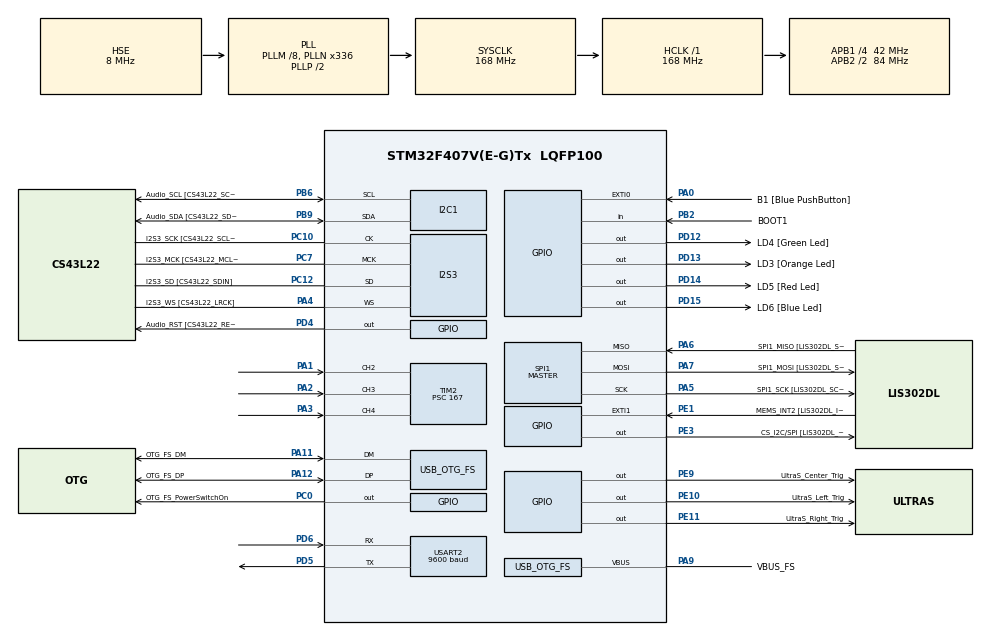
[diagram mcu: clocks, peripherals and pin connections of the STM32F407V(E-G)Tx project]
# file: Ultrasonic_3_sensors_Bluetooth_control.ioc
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I2S3.AudioFreq-Half_Duplex_Master=I2S_AUDIOFREQ_96K
I2S3.ErrorAudioFreq=-2.34 %
I2S3.ErrorAudioFreq-Half_Duplex_Master=0.8 %
I2S3.FullDuplexMode=I2S_FULLDUPLEXMODE_DISABLE
I2S3.Instance=SPI$Index
I2S3.RealAudioFreq=93.75 KHz
I2S3.RealAudioFreq-Half_Duplex_Master=96.774 KHz
I2S3.VirtualMode=I2S_MODE_MASTER
Mcu.Family=STM32F4
Mcu.Name=STM32F407V(E-G)Tx
Mcu.Package=LQFP100
NVIC.OTG_FS_IRQn=true\:0\:0\:false\:false\:true\:true\:true\:true
NVIC.PriorityGroup=NVIC_PRIORITYGROUP_0
NVIC.TIM2_IRQn=true\:0\:0\:false\:false\:true\:true\:true\:true
NVIC.USART2_IRQn=true\:0\:0\:false\:false\:true\:true\:true\:true
PA0-WKUP.GPIO_Label=B1 [Blue PushButton]
PA0-WKUP.GPIO_ModeDefaultEXTI=GPIO_MODE_EVT_RISING
PA0-WKUP.GPIO_PuPd=GPIO_NOPULL
PA0-WKUP.Signal=GPXTI0
PA1.Signal=S_TIM2_CH2
PA10.GPIO_Label=OTG_FS_ID
PA10.GPIO_Mode=GPIO_MODE_AF_PP
PA10.GPIO_PuPd=GPIO_NOPULL
PA10.GPIO_Speed=GPIO_SPEED_FREQ_LOW
PA10.Signal=USB_OTG_FS_ID
PA11.GPIO_Label=OTG_FS_DM
PA11.GPIO_Mode=GPIO_MODE_AF_PP
PA11.GPIO_PuPd=GPIO_NOPULL
PA11.GPIO_Speed=GPIO_SPEED_FREQ_LOW
PA11.Mode=Host_Only
PA11.Signal=USB_OTG_FS_DM
PA12.GPIO_Label=OTG_FS_DP
PA12.GPIO_Mode=GPIO_MODE_AF_PP
PA12.GPIO_PuPd=GPIO_NOPULL
PA12.GPIO_Speed=GPIO_SPEED_FREQ_LOW
PA12.Mode=Host_Only
PA12.Signal=USB_OTG_FS_DP
PA13.GPIO_Label=SWDIO
PA13.Mode=Serial_Wire
PA13.Signal=SYS_JTMS-SWDIO
PA14.GPIO_Label=SWCLK
PA14.Mode=Serial_Wire
PA14.Signal=SYS_JTCK-SWCLK
PA2.Signal=S_TIM2_CH3
PA3.Signal=S_TIM2_CH4
PA4.GPIO_Label=I2S3_WS [CS43L22_LRCK]
PA4.GPIO_Mode=GPIO_MODE_AF_PP
PA4.GPIO_PuPd=GPIO_NOPULL
PA4.GPIO_Speed=GPIO_SPEED_FREQ_LOW
PA4.Mode=Half_Duplex_Master
PA4.Signal=I2S3_WS
PA5.GPIO_Label=SPI1_SCK [LIS302DL_SCL/SPC]
PA5.GPIO_Mode=GPIO_MODE_AF_PP
PA5.GPIO_PuPd=GPIO_NOPULL
PA5.GPIO_Speed=GPIO_SPEED_FREQ_LOW
PA5.Mode=Full_Duplex_Master
PA5.Signal=SPI1_SCK
PA6.GPIO_Label=SPI1_MISO [LIS302DL_SDO]
PA6.GPIO_Mode=GPIO_MODE_AF_PP
PA6.GPIO_PuPd=GPIO_NOPULL
PA6.GPIO_Speed=GPIO_SPEED_FREQ_LOW
PA6.Mode=Full_Duplex_Master
PA6.Signal=SPI1_MISO
PA7.GPIO_Label=SPI1_MOSI [LIS302DL_SDA/SDI/SDO]
PA7.GPIO_Mode=GPIO_MODE_AF_PP
PA7.GPIO_PuPd=GPIO_NOPULL
PA7.GPIO_Speed=GPIO_SPEED_FREQ_LOW
PA7.Mode=Full_Duplex_Master
PA7.Signal=SPI1_MOSI
PA9.GPIO_Label=VBUS_FS
PA9.GPIO_Mode=GPIO_MODE_INPUT
PA9.GPIO_PuPd=GPIO_NOPULL
PA9.Mode=Activate_VBUS
PA9.Signal=USB_OTG_FS_VBUS
PB10.GPIO_Label=CLK_IN [MP45DT02_CLK]
PB10.GPIO_Mode=GPIO_MODE_AF_PP
PB10.GPIO_PuPd=GPIO_NOPULL
PB10.GPIO_Speed=GPIO_SPEED_FREQ_LOW
PB10.Signal=I2S2_CK
PB2.GPIO_Label=BOOT1
PB2.GPIO_Mode=GPIO_MODE_INPUT
PB2.GPIO_PuPd=GPIO_NOPULL
PB2.Signal=GPIO_Input
PB3.GPIO_Label=SWO
PB3.Signal=SYS_JTDO-SWO
PB6.GPIO_Label=Audio_SCL [CS43L22_SCL]
PB6.GPIO_Mode=GPIO_MODE_AF_OD
PB6.GPIO_Pu=GPIO_PULLUP
PB6.GPIO_PuPd=GPIO_NOPULL
PB6.GPIO_Speed=GPIO_SPEED_FREQ_LOW
PB6.Mode=I2C
PB6.Signal=I2C1_SCL
PB9.GPIO_Label=Audio_SDA [CS43L22_SDA]
PB9.GPIO_Mode=GPIO_MODE_AF_OD
PB9.GPIO_Pu=GPIO_PULLUP
PB9.GPIO_PuPd=GPIO_NOPULL
PB9.GPIO_Speed=GPIO_SPEED_FREQ_LOW
PB9.Mode=I2C
PB9.Signal=I2C1_SDA
PC0.GPIO_Label=OTG_FS_PowerSwitchOn
PC0.GPIO_PuPd=GPIO_NOPULL
PC0.GPIO_Speed=GPIO_SPEED_FREQ_LOW
PC0.PinState=GPIO_PIN_SET
PC0.Signal=GPIO_Output
PC10.GPIO_Label=I2S3_SCK [CS43L22_SCLK]
PC10.GPIO_Mode=GPIO_MODE_AF_PP
PC10.GPIO_PuPd=GPIO_NOPULL
PC10.GPIO_Speed=GPIO_SPEED_FREQ_LOW
PC10.Mode=Half_Duplex_Master
PC10.Signal=I2S3_CK
PC12.GPIO_Label=I2S3_SD [CS43L22_SDIN]
PC12.GPIO_Mode=GPIO_MODE_AF_PP
PC12.GPIO_PuPd=GPIO_NOPULL
PC12.GPIO_Speed=GPIO_SPEED_FREQ_LOW
PC12.Mode=Half_Duplex_Master
PC12.Signal=I2S3_SD
PC14-OSC32_IN.GPIO_Label=PC14-OSC32_IN
PC14-OSC32_IN.Mode=LSE-External-Oscillator
PC14-OSC32_IN.Signal=RCC_OSC32_IN
PC15-OSC32_OUT.GPIO_Label=PC15-OSC32_OUT
PC15-OSC32_OUT.Mode=LSE-External-Oscillator
PC15-OSC32_OUT.Signal=RCC_OSC32_OUT
PC3.GPIO_Label=PDM_OUT [MP45DT02_DOUT]
PC3.GPIO_Mode=GPIO_MODE_AF_PP
PC3.GPIO_PuPd=GPIO_NOPULL
PC3.GPIO_Speed=GPIO_SPEED_FREQ_LOW
PC3.Signal=I2S2_SD
PC7.GPIO_Label=I2S3_MCK [CS43L22_MCLK]
PC7.GPIO_Mode=GPIO_MODE_AF_PP
PC7.GPIO_PuPd=GPIO_NOPULL
PC7.GPIO_Speed=GPIO_SPEED_FREQ_LOW
PC7.Mode=Master_Clock_Activated
PC7.Signal=I2S3_MCK
PD12.GPIO_Label=LD4 [Green Led]
PD12.GPIO_PuPd=GPIO_NOPULL
PD12.GPIO_Speed=GPIO_SPEED_FREQ_LOW
PD12.Signal=GPIO_Output
PD13.GPIO_Label=LD3 [Orange Led]
PD13.GPIO_PuPd=GPIO_NOPULL
PD13.GPIO_Speed=GPIO_SPEED_FREQ_LOW
PD13.Signal=GPIO_Output
PD14.GPIO_Label=LD5 [Red Led]
PD14.GPIO_PuPd=GPIO_NOPULL
PD14.GPIO_Speed=GPIO_SPEED_FREQ_LOW
PD14.Signal=GPIO_Output
PD15.GPIO_Label=LD6 [Blue Led]
PD15.GPIO_PuPd=GPIO_NOPULL
PD15.GPIO_Speed=GPIO_SPEED_FREQ_LOW
PD15.Signal=GPIO_Output
PD4.GPIO_Label=Audio_RST [CS43L22_RESET]
PD4.GPIO_PuPd=GPIO_NOPULL
PD4.GPIO_Speed=GPIO_SPEED_FREQ_LOW
PD4.Signal=GPIO_Output
PD5.Mode=Asynchronous
PD5.Signal=USART2_TX
PD6.Mode=Asynchronous
PD6.Signal=USART2_RX
PE1.GPIO_Label=MEMS_INT2 [LIS302DL_INT2]
PE1.GPIO_ModeDefaultEXTI=GPIO_MODE_EVT_RISING
PE1.GPIO_PuPd=GPIO_NOPULL
PE1.Signal=GPXTI1
PE10.GPIO_Label=UltraS_Left_Trig
PE10.Signal=GPIO_Output
PE11.GPIO_Label=UltraS_Right_Trig
PE11.Signal=GPIO_Output
PE3.GPIO_Label=CS_I2C/SPI [LIS302DL_CS_I2C/SPI]
PE3.GPIO_PuPd=GPIO_NOPULL
PE3.GPIO_Speed=GPIO_SPEED_FREQ_LOW
PE3.Signal=GPIO_Output
PE9.GPIO_Label=UltraS_Center_Trig
PE9.Signal=GPIO_Output
PH0-OSC_IN.GPIO_Label=PH0-OSC_IN
PH0-OSC_IN.Mode=HSE-External-Oscillator
PH0-OSC_IN.Signal=RCC_OSC_IN
PH1-OSC_OUT.GPIO_Label=PH1-OSC_OUT
PH1-OSC_OUT.Mode=HSE-External-Oscillator
PH1-OSC_OUT.Signal=RCC_OSC_OUT
ProjectManager.HeapSize=0x200
ProjectManager.StackSize=0x400
ProjectManager.TargetToolchain=CMake
RCC.48MHZClocksFreq_Value=48000000
RCC.AHBFreq_Value=168000000
RCC.APB1CLKDivider=RCC_HCLK_DIV4
RCC.APB1Freq_Value=42000000
RCC.APB1TimFreq_Value=84000000
RCC.APB2CLKDivider=RCC_HCLK_DIV2
RCC.APB2Freq_Value=84000000
RCC.APB2TimFreq_Value=168000000
RCC.CortexFreq_Value=168000000
RCC.HCLKFreq_Value=168000000
RCC.HSE_VALUE=8000000
RCC.HSI_VALUE=16000000
RCC.PLLM=8
RCC.PLLN=336
RCC.PLLQ=7
RCC.SYSCLKFreq_VALUE=168000000
RCC.SYSCLKSource=RCC_SYSCLKSOURCE_PLLCLK
RCC.VCOOutputFreq_Value=336000000
SH.S_TIM2_CH2.0=TIM2_CH2,Input_Capture2_from_TI2
SH.S_TIM2_CH3.0=TIM2_CH3,Input_Capture3_from_TI3
SH.S_TIM2_CH4.0=TIM2_CH4,Input_Capture4_from_TI4
SPI1.BaudRatePrescaler-Full_Duplex_Master=SPI_BAUDRATEPRESCALER_2
SPI1.CalculateBaudRate-Full_Duplex_Master=42.0 MBits/s
SPI1.Direction=SPI_DIRECTION_2LINES
SPI1.Mode=SPI_MODE_MASTER
SPI1.Mode-Full_Duplex_Master=SPI_MODE_MASTER
SPI1.VirtualType=VM_MASTER
TIM2.Channel-Input_Capture2_from_TI2=TIM_CHANNEL_2
TIM2.Channel-Input_Capture3_from_TI3=TIM_CHANNEL_3
TIM2.Channel-Input_Capture4_from_TI4=TIM_CHANNEL_4
TIM2.Prescaler=167
USART2.BaudRate=9600
USART2.VirtualMode=VM_ASYNC
USB_HOST.BSP.number=1
USB_HOST.USBH_HandleTypeDef-CDC_FS=hUsbHostFS
USB_HOST.VirtualModeFS=Cdc
USB_HOST0.BSP.STBoard=false
USB_HOST0.BSP.api=Unknown
USB_HOST0.BSP.instance=PC0
USB_HOST0.BSP.ip=GPIO
USB_HOST0.BSP.mode=Output
USB_HOST0.BSP.name=Drive_VBUS_FS
USB_HOST0.BSP.solution=PC0
USB_OTG_FS.VirtualMode=Host_Only
USB_OTG_FS.phy_itface=HCD_PHY_EMBEDDED
VP_USB_HOST_VS_USB_HOST_CDC_FS.Mode=CDC_FS
board=STM32F407G-DISC1

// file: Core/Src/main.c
/* USER CODE BEGIN Header */
/**
  ******************************************************************************
  * @file           : main.c
  * @brief          : Main program body
  ******************************************************************************
  * @attention
  *
  * Copyright (c) 2026 STMicroelectronics.
  * All rights reserved.
  *
  * This software is licensed under terms that can be found in the LICENSE file
  * in the root directory of this software component.
  * If no LICENSE file comes with this software, it is provided AS-IS.
  *
  ******************************************************************************
  */
/* USER CODE END Header */
#include "main.h"
#include "usb_host.h"

/* USER CODE BEGIN Includes */
#include "../Inc/Ultrasonic_Sensors.h"
/* USER CODE END Includes */

I2C_HandleTypeDef hi2c1;

I2S_HandleTypeDef hi2s3;

SPI_HandleTypeDef hspi1;

TIM_HandleTypeDef htim2;

UART_HandleTypeDef huart2;

/* USER CODE BEGIN PV */
uint8_t rxData;
uint8_t stopSignal;

// typedef enum ultrasonic_sensor_direction {
//   CENTER = 0,
//   LEFT = 1,
//   RIGHT = 2
// }ultrasonicDir_t;
//
// typedef struct {
//   uint32_t IC_Val1;
//   uint32_t IC_Val2;
//   uint32_t Difference; // (cm)
//   uint8_t Is_First_Captured;
//   float Distance; // (cm)
// } HCSR04_t;
//
// HCSR04_t sensors[3];
/* USER CODE END PV */

void SystemClock_Config(void);
static void MX_GPIO_Init(void);
static void MX_I2C1_Init(void);
static void MX_I2S3_Init(void);
static void MX_SPI1_Init(void);
static void MX_TIM2_Init(void);
static void MX_USART2_UART_Init(void);
void MX_USB_HOST_Process(void);

/* USER CODE BEGIN 0 */
void HAL_TIM_IC_CaptureCallback(TIM_HandleTypeDef *htim)
{
  HCSR04_ProcessEcho(htim);
}
/* USER CODE END 0 */

int main(void)
{

  /* MCU Configuration--------------------------------------------------------*/

  /* Reset of all peripherals, Initializes the Flash interface and the Systick. */
  HAL_Init();

  /* Configure the system clock */
  SystemClock_Config();

  /* Initialize all configured peripherals */
  MX_GPIO_Init();
  MX_I2C1_Init();
  MX_I2S3_Init();
  MX_SPI1_Init();
  MX_TIM2_Init();
  MX_USB_HOST_Init();
  MX_USART2_UART_Init();
  /* USER CODE BEGIN 2 */
  HAL_UART_Receive_IT(&huart2,&rxData,1); // Enabling interrupt receive

  HAL_TIM_IC_Start_IT(&htim2, TIM_CHANNEL_2);
  HAL_TIM_IC_Start_IT(&htim2, TIM_CHANNEL_3);
  HAL_TIM_IC_Start_IT(&htim2, TIM_CHANNEL_4);
  DWT_Init();
  /* USER CODE END 2 */

  /* Infinite loop */
  /* USER CODE BEGIN WHILE */
  ultrasonicDir_t currDir;
  while (1)
  {
    // reality - CANNOT trigger all 3 sensors simultaneously: otherwise, we get interference
    // need 50 ms (at least 30 ms) between each sensor
    uint16_t ledPins[3] = {GPIO_PIN_12, GPIO_PIN_13, GPIO_PIN_14};
    if (!stopSignal) {
      HAL_GPIO_WritePin(LD6_GPIO_Port, LD6_Pin, GPIO_PIN_RESET);
      for (int i = 0; i < 3; i++) {
        currDir = i;

        // reset the current sensor's values if they were left in the air previously
        HCSR04_Reset(currDir);

        HCSR04_Trigger(currDir);
        HAL_Delay(50);

        // watchdog for if the current sensor doesn't receive echo => is_first_captured becomes stuck at 1 forever
        // if (sensors[i].Is_First_Captured == 1) {
        //   sensors[i].Is_First_Captured = 0;
        // }

        if(HCSR04_GetDistance(i) <= 5) { //  sensors[i].Distance <= 5
          HAL_GPIO_WritePin(GPIOD, ledPins[i], GPIO_PIN_SET);
        }
        else {
          HAL_GPIO_WritePin(GPIOD, ledPins[i], GPIO_PIN_RESET);
        }
      }
    }
    else {
      HAL_GPIO_WritePin(LD6_GPIO_Port, LD6_Pin, GPIO_PIN_SET);
    }
    /* USER CODE END WHILE */
    MX_USB_HOST_Process();

  }
}

void SystemClock_Config(void)
{
  RCC_OscInitTypeDef RCC_OscInitStruct = {0};
  RCC_ClkInitTypeDef RCC_ClkInitStruct = {0};

  /** Configure the main internal regulator output voltage
  */
  __HAL_RCC_PWR_CLK_ENABLE();
  __HAL_PWR_VOLTAGESCALING_CONFIG(PWR_REGULATOR_VOLTAGE_SCALE1);

  /** Initializes the RCC Oscillators according to the specified parameters
  * in the RCC_OscInitTypeDef structure.
  */
  RCC_OscInitStruct.OscillatorType = RCC_OSCILLATORTYPE_HSE;
  RCC_OscInitStruct.HSEState = RCC_HSE_ON;
  RCC_OscInitStruct.PLL.PLLState = RCC_PLL_ON;
  RCC_OscInitStruct.PLL.PLLSource = RCC_PLLSOURCE_HSE;
  RCC_OscInitStruct.PLL.PLLM = 8;
  RCC_OscInitStruct.PLL.PLLN = 336;
  RCC_OscInitStruct.PLL.PLLP = RCC_PLLP_DIV2;
  RCC_OscInitStruct.PLL.PLLQ = 7;
  if (HAL_RCC_OscConfig(&RCC_OscInitStruct) != HAL_OK)
  {
    Error_Handler();
  }

  /** Initializes the CPU, AHB and APB buses clocks
  */
  RCC_ClkInitStruct.ClockType = RCC_CLOCKTYPE_HCLK|RCC_CLOCKTYPE_SYSCLK
                              |RCC_CLOCKTYPE_PCLK1|RCC_CLOCKTYPE_PCLK2;
  RCC_ClkInitStruct.SYSCLKSource = RCC_SYSCLKSOURCE_PLLCLK;
  RCC_ClkInitStruct.AHBCLKDivider = RCC_SYSCLK_DIV1;
  RCC_ClkInitStruct.APB1CLKDivider = RCC_HCLK_DIV4;
  RCC_ClkInitStruct.APB2CLKDivider = RCC_HCLK_DIV2;

  if (HAL_RCC_ClockConfig(&RCC_ClkInitStruct, FLASH_LATENCY_5) != HAL_OK)
  {
    Error_Handler();
  }
}

static void MX_I2C1_Init(void)
{

  hi2c1.Instance = I2C1;
  hi2c1.Init.ClockSpeed = 100000;
  hi2c1.Init.DutyCycle = I2C_DUTYCYCLE_2;
  hi2c1.Init.OwnAddress1 = 0;
  hi2c1.Init.AddressingMode = I2C_ADDRESSINGMODE_7BIT;
  hi2c1.Init.DualAddressMode = I2C_DUALADDRESS_DISABLE;
  hi2c1.Init.OwnAddress2 = 0;
  hi2c1.Init.GeneralCallMode = I2C_GENERALCALL_DISABLE;
  hi2c1.Init.NoStretchMode = I2C_NOSTRETCH_DISABLE;
  if (HAL_I2C_Init(&hi2c1) != HAL_OK)
  {
    Error_Handler();
  }

}

static void MX_I2S3_Init(void)
{

  hi2s3.Instance = SPI3;
  hi2s3.Init.Mode = I2S_MODE_MASTER_TX;
  hi2s3.Init.Standard = I2S_STANDARD_PHILIPS;
  hi2s3.Init.DataFormat = I2S_DATAFORMAT_16B;
  hi2s3.Init.MCLKOutput = I2S_MCLKOUTPUT_ENABLE;
  hi2s3.Init.AudioFreq = I2S_AUDIOFREQ_96K;
  hi2s3.Init.CPOL = I2S_CPOL_LOW;
  hi2s3.Init.ClockSource = I2S_CLOCK_PLL;
  hi2s3.Init.FullDuplexMode = I2S_FULLDUPLEXMODE_DISABLE;
  if (HAL_I2S_Init(&hi2s3) != HAL_OK)
  {
    Error_Handler();
  }

}

static void MX_SPI1_Init(void)
{

  /* SPI1 parameter configuration*/
  hspi1.Instance = SPI1;
  hspi1.Init.Mode = SPI_MODE_MASTER;
  hspi1.Init.Direction = SPI_DIRECTION_2LINES;
  hspi1.Init.DataSize = SPI_DATASIZE_8BIT;
  hspi1.Init.CLKPolarity = SPI_POLARITY_LOW;
  hspi1.Init.CLKPhase = SPI_PHASE_1EDGE;
  hspi1.Init.NSS = SPI_NSS_SOFT;
  hspi1.Init.BaudRatePrescaler = SPI_BAUDRATEPRESCALER_2;
  hspi1.Init.FirstBit = SPI_FIRSTBIT_MSB;
  hspi1.Init.TIMode = SPI_TIMODE_DISABLE;
  hspi1.Init.CRCCalculation = SPI_CRCCALCULATION_DISABLE;
  hspi1.Init.CRCPolynomial = 10;
  if (HAL_SPI_Init(&hspi1) != HAL_OK)
  {
    Error_Handler();
  }

}

static void MX_TIM2_Init(void)
{

  TIM_MasterConfigTypeDef sMasterConfig = {0};
  TIM_IC_InitTypeDef sConfigIC = {0};

  htim2.Instance = TIM2;
  htim2.Init.Prescaler = 167;
  htim2.Init.CounterMode = TIM_COUNTERMODE_UP;
  htim2.Init.Period = 4294967295;
  htim2.Init.ClockDivision = TIM_CLOCKDIVISION_DIV1;
  htim2.Init.AutoReloadPreload = TIM_AUTORELOAD_PRELOAD_DISABLE;
  if (HAL_TIM_IC_Init(&htim2) != HAL_OK)
  {
    Error_Handler();
  }
  sMasterConfig.MasterOutputTrigger = TIM_TRGO_RESET;
  sMasterConfig.MasterSlaveMode = TIM_MASTERSLAVEMODE_DISABLE;
  if (HAL_TIMEx_MasterConfigSynchronization(&htim2, &sMasterConfig) != HAL_OK)
  {
    Error_Handler();
  }
  sConfigIC.ICPolarity = TIM_INPUTCHANNELPOLARITY_RISING;
  sConfigIC.ICSelection = TIM_ICSELECTION_DIRECTTI;
  sConfigIC.ICPrescaler = TIM_ICPSC_DIV1;
  sConfigIC.ICFilter = 0;
  if (HAL_TIM_IC_ConfigChannel(&htim2, &sConfigIC, TIM_CHANNEL_2) != HAL_OK)
  {
    Error_Handler();
  }
  if (HAL_TIM_IC_ConfigChannel(&htim2, &sConfigIC, TIM_CHANNEL_3) != HAL_OK)
  {
    Error_Handler();
  }
  if (HAL_TIM_IC_ConfigChannel(&htim2, &sConfigIC, TIM_CHANNEL_4) != HAL_OK)
  {
    Error_Handler();
  }

}

static void MX_USART2_UART_Init(void)
{

  huart2.Instance = USART2;
  huart2.Init.BaudRate = 9600;
  huart2.Init.WordLength = UART_WORDLENGTH_8B;
  huart2.Init.StopBits = UART_STOPBITS_1;
  huart2.Init.Parity = UART_PARITY_NONE;
  huart2.Init.Mode = UART_MODE_TX_RX;
  huart2.Init.HwFlowCtl = UART_HWCONTROL_NONE;
  huart2.Init.OverSampling = UART_OVERSAMPLING_16;
  if (HAL_UART_Init(&huart2) != HAL_OK)
  {
    Error_Handler();
  }

}

static void MX_GPIO_Init(void)
{
  GPIO_InitTypeDef GPIO_InitStruct = {0};

  /* GPIO Ports Clock Enable */
  __HAL_RCC_GPIOE_CLK_ENABLE();
  __HAL_RCC_GPIOC_CLK_ENABLE();
  __HAL_RCC_GPIOH_CLK_ENABLE();
  __HAL_RCC_GPIOA_CLK_ENABLE();
  __HAL_RCC_GPIOB_CLK_ENABLE();
  __HAL_RCC_GPIOD_CLK_ENABLE();

  /*Configure GPIO pin Output Level */
  HAL_GPIO_WritePin(GPIOE, CS_I2C_SPI_Pin|UltraS_Center_Trig_Pin|UltraS_Left_Trig_Pin|UltraS_Right_Trig_Pin, GPIO_PIN_RESET);

  /*Configure GPIO pin Output Level */
  HAL_GPIO_WritePin(OTG_FS_PowerSwitchOn_GPIO_Port, OTG_FS_PowerSwitchOn_Pin, GPIO_PIN_SET);

  /*Configure GPIO pin Output Level */
  HAL_GPIO_WritePin(GPIOD, LD4_Pin|LD3_Pin|LD5_Pin|LD6_Pin
                          |Audio_RST_Pin, GPIO_PIN_RESET);

  /*Configure GPIO pins : CS_I2C_SPI_Pin UltraS_Center_Trig_Pin UltraS_Left_Trig_Pin UltraS_Right_Trig_Pin */
  GPIO_InitStruct.Pin = CS_I2C_SPI_Pin|UltraS_Center_Trig_Pin|UltraS_Left_Trig_Pin|UltraS_Right_Trig_Pin;
  GPIO_InitStruct.Mode = GPIO_MODE_OUTPUT_PP;
  GPIO_InitStruct.Pull = GPIO_NOPULL;
  GPIO_InitStruct.Speed = GPIO_SPEED_FREQ_LOW;
  HAL_GPIO_Init(GPIOE, &GPIO_InitStruct);

  /*Configure GPIO pin : OTG_FS_PowerSwitchOn_Pin */
  GPIO_InitStruct.Pin = OTG_FS_PowerSwitchOn_Pin;
  GPIO_InitStruct.Mode = GPIO_MODE_OUTPUT_PP;
  GPIO_InitStruct.Pull = GPIO_NOPULL;
  GPIO_InitStruct.Speed = GPIO_SPEED_FREQ_LOW;
  HAL_GPIO_Init(OTG_FS_PowerSwitchOn_GPIO_Port, &GPIO_InitStruct);

  /*Configure GPIO pin : PDM_OUT_Pin */
  GPIO_InitStruct.Pin = PDM_OUT_Pin;
  GPIO_InitStruct.Mode = GPIO_MODE_AF_PP;
  GPIO_InitStruct.Pull = GPIO_NOPULL;
  GPIO_InitStruct.Speed = GPIO_SPEED_FREQ_LOW;
  GPIO_InitStruct.Alternate = GPIO_AF5_SPI2;
  HAL_GPIO_Init(PDM_OUT_GPIO_Port, &GPIO_InitStruct);

  /*Configure GPIO pin : B1_Pin */
  GPIO_InitStruct.Pin = B1_Pin;
  GPIO_InitStruct.Mode = GPIO_MODE_EVT_RISING;
  GPIO_InitStruct.Pull = GPIO_NOPULL;
  HAL_GPIO_Init(B1_GPIO_Port, &GPIO_InitStruct);

  /*Configure GPIO pin : BOOT1_Pin */
  GPIO_InitStruct.Pin = BOOT1_Pin;
  GPIO_InitStruct.Mode = GPIO_MODE_INPUT;
  GPIO_InitStruct.Pull = GPIO_NOPULL;
  HAL_GPIO_Init(BOOT1_GPIO_Port, &GPIO_InitStruct);

  /*Configure GPIO pin : CLK_IN_Pin */
  GPIO_InitStruct.Pin = CLK_IN_Pin;
  GPIO_InitStruct.Mode = GPIO_MODE_AF_PP;
  GPIO_InitStruct.Pull = GPIO_NOPULL;
  GPIO_InitStruct.Speed = GPIO_SPEED_FREQ_LOW;
  GPIO_InitStruct.Alternate = GPIO_AF5_SPI2;
  HAL_GPIO_Init(CLK_IN_GPIO_Port, &GPIO_InitStruct);

  /*Configure GPIO pins : LD4_Pin LD3_Pin LD5_Pin LD6_Pin
                           Audio_RST_Pin */
  GPIO_InitStruct.Pin = LD4_Pin|LD3_Pin|LD5_Pin|LD6_Pin
                          |Audio_RST_Pin;
  GPIO_InitStruct.Mode = GPIO_MODE_OUTPUT_PP;
  GPIO_InitStruct.Pull = GPIO_NOPULL;
  GPIO_InitStruct.Speed = GPIO_SPEED_FREQ_LOW;
  HAL_GPIO_Init(GPIOD, &GPIO_InitStruct);

  /*Configure GPIO pin : MEMS_INT2_Pin */
  GPIO_InitStruct.Pin = MEMS_INT2_Pin;
  GPIO_InitStruct.Mode = GPIO_MODE_EVT_RISING;
  GPIO_InitStruct.Pull = GPIO_NOPULL;
  HAL_GPIO_Init(MEMS_INT2_GPIO_Port, &GPIO_InitStruct);

}

/* USER CODE BEGIN 4 */
void HAL_UART_RxCpltCallback(UART_HandleTypeDef *huart)
{
  if(huart->Instance==USART2)
  {
    if(rxData==78) // Ascii value of 'N' is 78 (N for NO)
    {
      stopSignal = 1;
    }
    else if (rxData==89) // Ascii value of 'Y' is 89 (Y for YES)
    {
      stopSignal = 0;
    }
    HAL_UART_Receive_IT(&huart2,&rxData,1); // Enabling interrupt receive again
  }
}
/* USER CODE END 4 */

void Error_Handler(void)
{
  __disable_irq();
  while (1)
  {
  }
}
